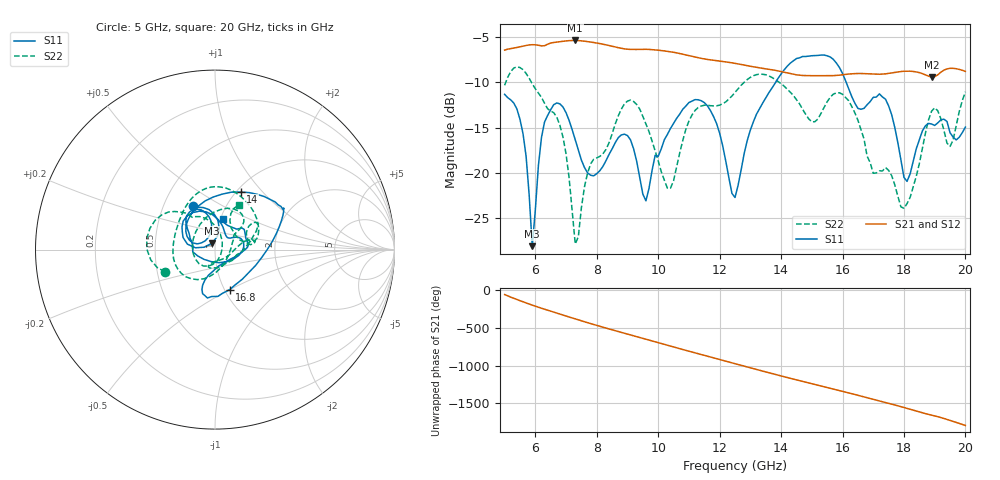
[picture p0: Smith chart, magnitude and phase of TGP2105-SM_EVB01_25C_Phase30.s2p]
! Date: Wednesday, June 05, 2013  1:51 PM
! Filename: C:\Data\Mike_Arnold\TGP2105-SM\Over_Temp\TGP2105-SM_EVB01_25C_Phase30.s2p
! Comments:
!^VDC(V):5.000
!^VDC(mA):0.135
!%Freq(GHz),S11(dB),S11(ang),S21(dB),S21(ang),S12(dB),S12(ang),S22(dB),S22(ang)
# GHz  S  DB  R  50
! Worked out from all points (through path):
!   151 points, 5 GHz to 20 GHz, reference 50 ohm
!   highest |S21| = -5.38 dB at 7.3 GHz (marker M1); lowest = -9.4 dB at 18.9 GHz (marker M2)
!   lowest |S11| = -28.1 dB at 5.9 GHz (marker M3), VSWR 1.08, Z = 48.2 + j3.41 ohm
!   |S11| at or under -10 dB: start of sweep to 13.82 GHz; 16.12 GHz to end of sweep
!   |S22| runs from -27.9 to -8.3 dB; largest |S21 - S12| = 0.0023
!   S11 on the Smith chart (normalised r, x): 5 GHz: 0.70, +0.37; 14 GHz: 1.05, +0.77; 16.8 GHz: 1.06, -0.50; 20 GHz: 1.03, +0.37
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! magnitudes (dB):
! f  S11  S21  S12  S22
! 5 GHz  -11.3  -6.4  -6.5  -10.3
! 5.6 GHz  -15.7  -6.0  -6.0  -8.6
! 5.9 GHz  -28.1  -5.8  -5.9  -10.2
! 6.3 GHz  -14.4  -6.0  -6.0  -12.3
! 6.9 GHz  -12.7  -5.5  -5.5  -16.1
! 7.3 GHz  -16.3  -5.4  -5.4  -27.9
! 7.5 GHz  -18.6  -5.4  -5.4  -23.9
! 9 GHz  -15.9  -6.3  -6.4  -12.1
! 9.6 GHz  -23.1  -6.4  -6.4  -14.6
! 10 GHz  -18.2  -6.5  -6.5  -18.7
! 10.4 GHz  -15.1  -6.6  -6.7  -21.7
! 11.4 GHz  -12.0  -7.4  -7.4  -12.6
! 12.5 GHz  -22.7  -7.9  -7.9  -11.1
! 14 GHz  -9.1  -8.8  -8.8  -10.2
! 15 GHz  -7.1  -9.3  -9.3  -14.4
! 16 GHz  -9.0  -9.2  -9.2  -11.3
! 16.8 GHz  -12.5  -9.1  -9.1  -18.2
! 17.5 GHz  -12.6  -9.0  -9.0  -19.7
! 18.1 GHz  -20.9  -8.8  -8.8  -23.4
! 18.9 GHz  -14.6  -9.4  -9.5  -13.2
! 19.5 GHz  -15.6  -8.5  -8.5  -17.1
! 20 GHz  -14.9  -8.8  -8.8  -11.1
